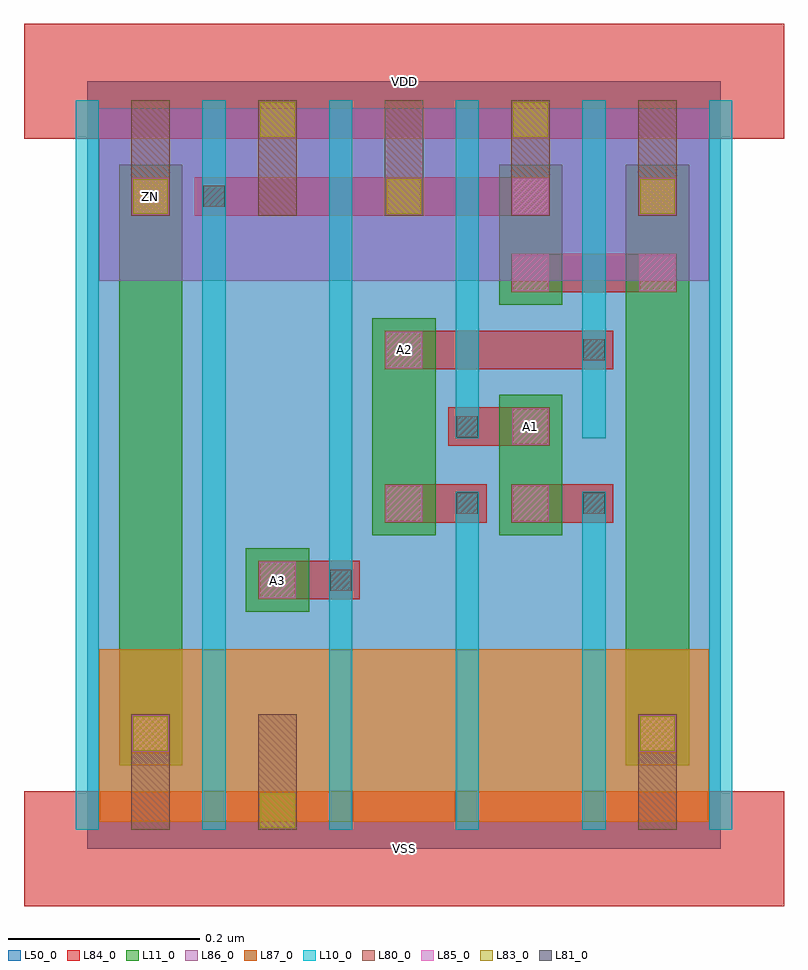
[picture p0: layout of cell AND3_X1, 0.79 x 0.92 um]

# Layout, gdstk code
import gdstk
lib = gdstk.Library(unit=1e-6, precision=1e-09)
def R(c, l, rs):  # rectangles x0, y0, x1, y1
    for r in rs: c.add(gdstk.rectangle(r[:2], r[2:], *l))
def A(c, l, x, y, w, h, nx, ny, dx, dy):  # array of equal rectangles
    R(c, l, [(x+i*dx, y+j*dy, x+i*dx+w, y+j*dy+h) for i in range(nx) for j in range(ny)])
L10_0 = (10, 0)
L11_0 = (11, 0)
L50_0 = (50, 0)
L80_0 = (80, 0)
L81_0 = (81, 0)
L83_0 = (83, 0)
L84_0 = (84, 0)
L85_0 = (85, 0)
L86_0 = (86, 0)
L87_0 = (87, 0)

and3_x1 = lib.new_cell('AND3_X1')
A(and3_x1, L10_0, -0.012, 0.02, 0.024, 0.76, 3, 1, 0.132, 0)
R(and3_x1, L10_0, [(0.384,0.02,0.408,0.372), (0.516,0.02,0.54,0.372), (0.648,0.02,0.672,0.78), (0.384,0.428,0.408,0.78), (0.516,0.428,0.54,0.78)])
R(and3_x1, L11_0, [(0.033,0.087,0.099,0.713), (0.561,0.087,0.627,0.713), (0.165,0.247,0.231,0.313), (0.297,0.327,0.363,0.553), (0.429,0.327,0.495,0.473), (0.429,0.567,0.495,0.713)])
R(and3_x1, L50_0, [(0,0,0.66,0.8)])
A(and3_x1, L80_0, 0.046, 0.66, 0.04, 0.12, 5, 1, 0.132, 0)
R(and3_x1, L80_0, [(0.046,0.02,0.086,0.14), (0.178,0.02,0.218,0.14), (0.574,0.02,0.614,0.14)])
R(and3_x1, L81_0, [(0.253,0.269,0.275,0.291), (0.385,0.349,0.407,0.371), (0.517,0.349,0.539,0.371), (0.385,0.429,0.407,0.451), (0.517,0.509,0.539,0.531), (0.121,0.669,0.143,0.691)])
A(and3_x1, L83_0, 0.048, 0.662, 0.036, 0.036, 3, 1, 0.264, 0)
R(and3_x1, L83_0, [(0.18,0.022,0.216,0.058), (0.048,0.102,0.084,0.138), (0.576,0.102,0.612,0.138), (0.18,0.742,0.216,0.778), (0.444,0.742,0.48,0.778)])
R(and3_x1, L84_0, [(-0.066,-0.06,0.726,0.06), (0.046,0.1,0.086,0.14), (0.574,0.1,0.614,0.14), (0.178,0.26,0.284,0.3), (0.31,0.34,0.416,0.38), (0.442,0.34,0.548,0.38), (0.376,0.42,0.482,0.46), (0.31,0.5,0.548,0.54), (0.442,0.58,0.614,0.62), (0.046,0.66,0.086,0.7), (0.112,0.66,0.482,0.7), (0.574,0.66,0.614,0.7), (-0.066,0.74,0.726,0.86)])
R(and3_x1, L85_0, [(0.047,0.101,0.085,0.139), (0.575,0.101,0.613,0.139), (0.179,0.261,0.217,0.299), (0.311,0.341,0.349,0.379), (0.443,0.341,0.481,0.379), (0.443,0.421,0.481,0.459), (0.311,0.501,0.349,0.539), (0.443,0.581,0.481,0.619), (0.575,0.581,0.613,0.619), (0.047,0.661,0.085,0.699), (0.443,0.661,0.481,0.699), (0.575,0.661,0.613,0.699)])
R(and3_x1, L86_0, [(0.012,0.592,0.648,0.772)])
R(and3_x1, L87_0, [(0.012,0.028,0.648,0.208)])
and3_x1.add(gdstk.Label('VDD', (0.33,0.8), layer=88, texttype=0))
and3_x1.add(gdstk.Label('VSS', (0.33,0), layer=88, texttype=0))
and3_x1.add(gdstk.Label('A1', (0.462,0.44), layer=31, texttype=0))
and3_x1.add(gdstk.Label('ZN', (0.066,0.68), layer=31, texttype=0))
and3_x1.add(gdstk.Label('A2', (0.33,0.52), layer=31, texttype=0))
and3_x1.add(gdstk.Label('A3', (0.198,0.28), layer=31, texttype=0))

lib.write_gds('AND3_X1.gds')
